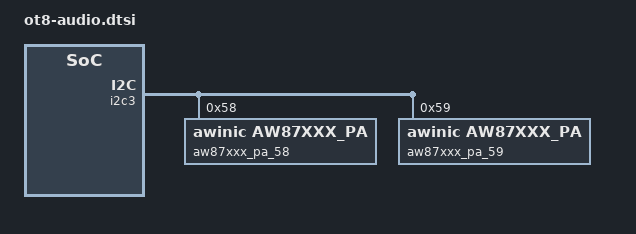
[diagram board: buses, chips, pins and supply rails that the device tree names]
&i2c3 {
/* AWINIC AW87XXX Smart K PA */
	aw87xxx_pa_58@58 {
		compatible = "awinic,aw87xxx_pa";
		reg = <0x58>;
		//reset-gpio = <&pio 63 0>;
		pa-channel = < 0 >; //left
		//actflag-gain-array = < 0x00 0x08 0x08 0x08 0x00 >;
		gain-reg-addr = <0x05>;
		monitor-flag = <1>;
		monitor-timer-val = <3000>;
		monitor-timer-count-max = <5>;
		status = "okay";
	};

	aw87xxx_pa_59@59 {
		compatible = "awinic,aw87xxx_pa";
		reg = <0x59>;
		//reset-gpio = <&pio 1 0>;
		pa-channel = < 1 >; //right
		//actflag-gain-array = < 0x00 0x08 0x08 0x08 0x00 >;
		gain-reg-addr = <0x05>;
		monitor-flag = <1>;
		monitor-timer-val = <3000>;
		monitor-timer-count-max = <5>;
		status = "okay";
	};
/* AWINIC AW87XXX Smart K PA End */
};

/* huaqin modify for OT8-714 rm moisture function by limengxia at 2021/1/6 start*/
&pmic_accdet{

	/delete-property/ moisture-ver;
	/delete-property/ moisture_use_ext_res;
	/delete-property/ moisture-external-r;
	/delete-property/ moisture-water-r;

};
/* huaqin modify for OT8-714 rm moisture function by limengxia at 2021/1/6 end*/
